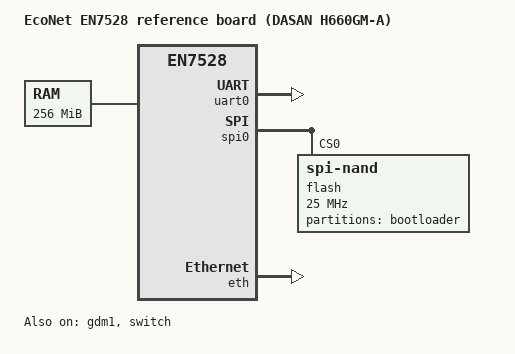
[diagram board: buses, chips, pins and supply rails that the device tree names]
// SPDX-License-Identifier: GPL-2.0+
/*
 * EcoNet EN7528 reference board (DASAN H660GM-A).
 *
 * This board reuses the EN7528 SoC support - econet,en7528.dtsi and the
 * mach-en75xx port - originally written by
 * Matheus Sampaio Queiroga <srherobrine20@gmail.com> in the en7523_u-boot
 * tree. U-Boot proper is entered after an external DRAM/early-boot stage;
 * that stage and its bootext/flash images are not built in this tree.
 */
/dts-v1/;

#include "econet,en7528.dtsi"

/ {
	model = "EcoNet EN7528 reference board (DASAN H660GM-A)";
	compatible = "econet,en7528-reference", "econet,en7528";

	memory@0 {
		device_type = "memory";
		reg = <0x00000000 0x10000000>;
	};

	chosen {
		stdout-path = "serial0:115200n8";
	};
};

&uart0 {
	status = "okay";
};

&spi0 {
	status = "okay";

	flash@0 {
		compatible = "spi-nand";
		reg = <0>;
		spi-max-frequency = <25000000>;
		spi-tx-bus-width = <1>;
		spi-rx-bus-width = <1>;

		partitions {
			compatible = "fixed-partitions";
			#address-cells = <1>;
			#size-cells = <1>;

			/*
			 * The external replacement bootloader currently reserves
			 * 1 MiB. This does not match the vendor 256 KiB layout;
			 * preserve the board-specific partitioning when flashing.
			 */
			partition@0 {
				label = "bootloader";
				reg = <0x00000000 0x00100000>;
				read-only;
			};
		};
	};
};

&eth {
	status = "okay";
};

&gdm1 {
	status = "okay";
};

&switch {
	status = "okay";
};
